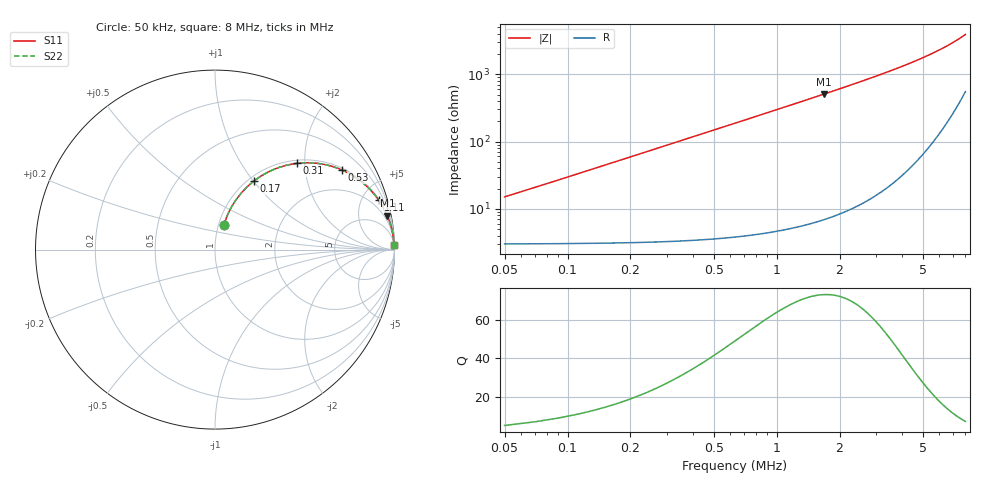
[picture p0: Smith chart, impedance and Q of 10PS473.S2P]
! Coilcraft 1008PS-473 Power Chip Inductor
! 7 October 2002
# MHZ S MA R 50
!Freq  MagS11  AngS11  MagS21  AngS21  MagS12  AngS12  MagS22  AngS22
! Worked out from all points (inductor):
!   399 points, 50 kHz to 8 MHz, reference 50 ohm
!   read as one part in series: L = 47 uH near 70 kHz
!   highest Q = 73.4 at 1.69 MHz (marker M1), where L = 47.9 uH
!   S11 on the Smith chart (normalised r, x): 50 kHz: 1.06, +0.30; 170 kHz: 1.06, +1.00; 310 kHz: 1.07, +1.83; 530 kHz: 1.07, +3.14; 1.11 MHz: 1.10, +6.61; 8 MHz: 12, +77
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0.05  0.1448 70.3  0.9609 -8.2  0.9609 -8.2  0.1448 70.3
0.07  0.1988 70.3  0.9516 -11.3  0.9516 -11.3  0.1988 70.3
0.09  0.2514 69.0  0.9397 -14.5  0.9397 -14.5  0.2514 69.0
0.11  0.302 67.1  0.9254 -17.5  0.9254 -17.5  0.302 67.1
0.13  0.3502 65.0  0.9091 -20.4  0.9091 -20.4  0.3502 65.0
0.17  0.4386 60.5  0.8719 -26.0  0.8719 -26.0  0.4386 60.5
0.23  0.5506 54.0  0.8094 -33.4  0.8094 -33.4  0.5506 54.0
0.31  0.664 46.4  0.7244 -41.6  0.7244 -41.6  0.664 46.4
0.41  0.761 38.9  0.6276 -49.5  0.6276 -49.5  0.761 38.9
0.53  0.8345 32.1  0.5321 -56.5  0.5321 -56.5  0.8345 32.1
0.65  0.8803 27.2  0.4573 -61.7  0.4573 -61.7  0.8803 27.2
0.77  0.91 23.5  0.3986 -65.5  0.3986 -65.5  0.91 23.5
0.93  0.9354 19.8  0.3387 -69.3  0.3387 -69.3  0.9354 19.8
1.11  0.9532 16.8  0.2885 -72.4  0.2885 -72.4  0.9532 16.8
1.39  0.9692 13.5  0.2332 -75.7  0.2332 -75.7  0.9692 13.5
1.69  0.9787 11.1  0.1925 -78.1  0.1925 -78.1  0.9787 11.1
2.17  0.9867 8.6  0.1493 -80.6  0.1493 -80.6  0.9867 8.6
2.71  0.9912 6.8  0.118 -82.3  0.118 -82.3  0.9912 6.8
4.03  0.9954 4.3  0.07497 -84.3  0.07497 -84.3  0.9954 4.3
5.35  0.9965 3.0  0.05165 -84.6  0.05165 -84.6  0.9965 3.0
6.69  0.9965 2.1  0.03632 -83.5  0.03632 -83.5  0.9965 2.1
8  0.9961 1.5  0.02556 -80.4  0.02556 -80.4  0.9961 1.5
